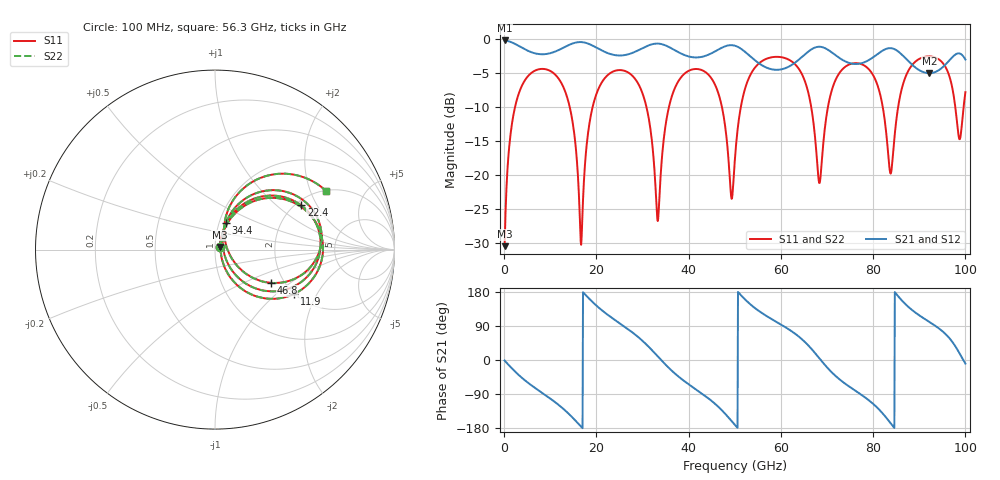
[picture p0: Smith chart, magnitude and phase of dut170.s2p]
! Touchstone file exported from HFSS 2026.1.0
!  File:  C:/ffzhzh/LocalFiles/Ansys_Project_Files/temp_test_TSV_RDL_170_1783467320_50928.aedt
!  Generated:  07:47:14 AM Jul  8, 2026
!  Design:  TSV_RDL
!  Project:  temp_test_TSV_RDL_170_1783467320_50928
! Variables:
!  h_bsmrdl = 2.68um
!  h_ox = 20um
!  h_rdl = 5um
!  h_sub = 53.75um
!  h_tmrdl = 4.2um
!  h_tsv = 53.75um
!  h_via = 3um
!  l_bsmrdl = 466.33um
!  l_sub = 3681.51um
!  l_tmrdl = 450.32um
!  m_sub = 200um
!  pitch = 42.87um
!  r_tsv = 9.2um
!  s_tmrdl = 10um
!  w_bsmrdl = 15.71um
!  w_sub = 500um
!  w_tmrdl = 11.37um
!  x_tsv_center1 = 456.005um
!  x_tsv_center2 = 938.045um
!  x_tsv_center3 = 1399.735um
!  x_tsv_center4 = 1881.775um
!  x_tsv_center5 = 2343.465um
!  x_tsv_center6 = 2825.505um
# GHz S MA R 50.000000
! Terminal data exported
! Port[1] = TM_RDL1_1_T1
! Port[2] = TM_RDL5_1_T1
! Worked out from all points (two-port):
!   1000 points, 100 MHz to 100 GHz, reference 50 ohm
!   highest |S21| = -0.23 dB at 100 MHz (marker M1); lowest = -5.0 dB at 92.2 GHz (marker M2)
!   |S21| within 3 dB of the highest: start of sweep to 54.54 GHz; 63.57 GHz to 73.72 GHz (10.15 GHz wide, 14.8 % of centre) (the widest 2 of 4)
!   lowest |S11| = -30.5 dB at 100 MHz (marker M3), VSWR 1.06, Z = 52.6 + j1.56 ohm
!   |S11| at or under -10 dB: 14.21 GHz to 19.19 GHz (4.977 GHz wide, 29.8 % of centre); 30.85 GHz to 35.73 GHz (4.888 GHz wide, 14.7 % of centre); 47.21 GHz to 51.32 GHz (4.107 GHz wide, 8.34 % of centre) (the widest 3 of 7)
!   |S22| runs from -30.5 to -2.6 dB; largest |S21 - S12| = 7.7e-14
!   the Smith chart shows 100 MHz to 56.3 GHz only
!   S11 on the Smith chart (normalised r, x): 100 MHz: 1.05, +0.03; 11.9 GHz: 1.99, -1.32; 22.4 GHz: 2.14, +1.49; 34.4 GHz: 1.08, +0.32; 46.8 GHz: 1.71, -0.73; 56.3 GHz: 2.02, +2.59
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0.1  0.02993 29.6  0.9742 -1.4  0.9742 -1.4  0.02993 29.6
! Gamma 0 0 0 0
! Port Impedance 50 0 50 0
3.4  0.4167 43.7  0.8793 -42.2  0.8793 -42.2  0.4167 43.7
11.9  0.5053 -29.3  0.8308 -119.3  0.8308 -119.3  0.5053 -29.2
16.8  0.03488 30.0  0.9473 -177.3  0.9473 -177.3  0.03594 29.1
18.8  0.2746 60.1  0.9054 157.4  0.9054 157.4  0.2748 59.8
22.4  0.5402 27.2  0.7875 119.8  0.7875 119.8  0.5403 27.0
29.8  0.4143 -34.0  0.8487 52.7  0.8487 52.7  0.4144 -34.1
33.4  0.04795 24.5  0.9235 8.3  0.9235 8.3  0.04778 24.3
34.4  0.1581 67.8  0.9105 -4.7  0.9105 -4.7  0.158 67.7
39.1  0.555 31.1  0.761 -56.1  0.761 -56.1  0.5549 31.0
46.8  0.3621 -30.7  0.8477 -127.8  0.8477 -127.8  0.362 -30.9
50.1  0.1405 68.4  0.8897 -172.2  0.8897 -172.2  0.14 68.7
56.3  0.6997 27.9  0.6287 120.6  0.6287 120.6  0.6996 27.9
66.7  0.2971 -46.4  0.8413 28.4  0.8413 28.4  0.2974 -46.2
68.4  0.08724 8.9  0.876 3.6  0.876 3.6  0.08906 8.8
73.1  0.5857 30.6  0.7092 -54.8  0.7092 -54.8  0.586 30.5
80.1  0.5331 -21.2  0.7368 -116.8  0.7368 -116.8  0.5336 -21.0
83.4  0.1258 -18.4  0.8542 -160.7  0.8542 -160.7  0.1296 -17.3
87.1  0.5342 47.4  0.7158 146.2  0.7158 146.2  0.5349 46.7
92.2  0.7436 10.3  0.5597 100.4  0.5597 100.4  0.7438 9.9
96.9  0.479 -23.2  0.7182 52.1  0.7182 52.1  0.4786 -23.6
100  0.4059 52.5  0.7057 -9.5  0.7057 -9.5  0.4051 52.5
